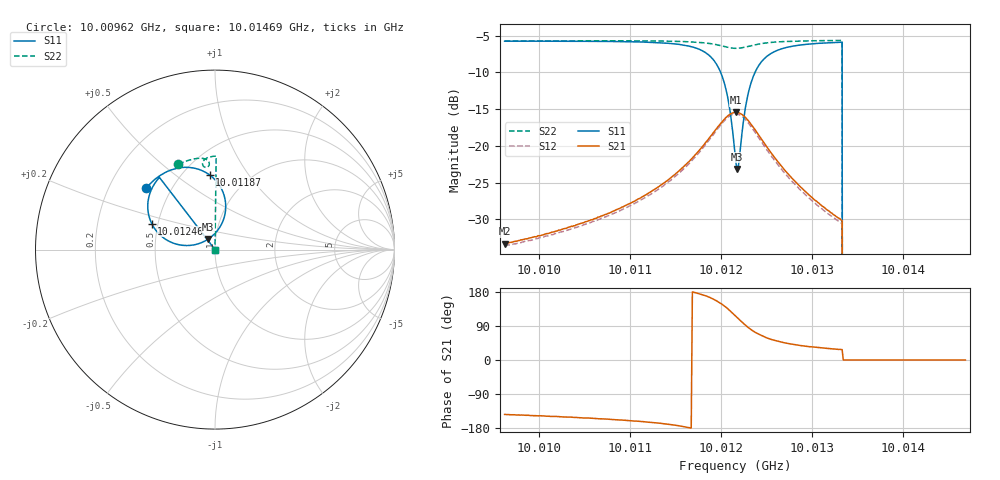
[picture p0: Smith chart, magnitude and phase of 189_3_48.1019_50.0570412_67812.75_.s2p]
#  HZ  S  RI  R  50.00
! Rohde & Schwarz Vector Network Analyzer
! Rohde-Schwarz,ZNB20-2Port,1311601062101988,3.16
! Created: UTC 12/23/2023, 3:53:34 AM
! freq[Hz]  re:S11  im:S11  re:S21  im:S21  re:S12  im:S12  re:S22  im:S22
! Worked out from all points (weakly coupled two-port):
!   401 points, 10.00962 GHz to 10.01469 GHz, reference 50 ohm
!   highest |S21| = -15.43 dB at 10.01217 GHz (marker M1); lowest = -33.3 dB at 10.00962 GHz (marker M2)
!   lowest |S11| = -23.1 dB at 10.01218 GHz (marker M3), VSWR 1.15, Z = 46.1 + j5.46 ohm
!   |S11| at or under -10 dB: 10.012 GHz to 10.01238 GHz (378.3 kHz wide, 0.00378 % of centre); 10.01333 GHz to end of sweep
!   |S22| runs from - to -5.7 dB; largest |S21 - S12| = 0.0087
!   S11 on the Smith chart (normalised r, x): 10.00962 GHz: 0.36, +0.34; 10.01187 GHz: 0.67, +0.67; 10.01246 GHz: 0.46, +0.16; 10.01469 GHz: 1.00, +0.00
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1.0009624e10  -0.3855 0.3419  -0.0174 -0.0129  -0.0162 -0.0131  -0.2044 0.4761
1.0010473e10  -0.3302 0.3949  -0.0264 -0.0139  -0.0247 -0.0145  -0.1512 0.4963
1.0011321e10  -0.2278 0.4491  -0.0515 -0.0123  -0.0491 -0.0143  -0.0906 0.5087
1.0011625e10  -0.1464 0.458  -0.0755 -0.00359  -0.0724 -0.00783  -0.0642 0.5075
1.0011866e10  -0.0291 0.4153  -0.1083 0.0257  -0.1062 0.0192  -0.0407 0.4966
1.0011967e10  0.0321 0.3462  -0.1211 0.0586  -0.1207 0.0503  -0.0328 0.4849
1.0012043e10  0.0591 0.2568  -0.1205 0.0937  -0.1216 0.0863  -0.0321 0.4729
1.0012094e10  0.0514 0.1796  -0.1085 0.1216  -0.1111 0.114  -0.0362 0.4649
1.0012157e10  -0.00229 0.0877  -0.078 0.1502  -0.0823 0.143  -0.0461 0.4586
1.001217e10  -0.019 0.0724  -0.0703 0.154  -0.0747 0.1472  -0.0482 0.4581
1.0012182e10  -0.0371 0.0589  -0.0621 0.1572  -0.0665 0.1506  -0.0508 0.4581
1.0012208e10  -0.0767 0.0381  -0.0454 0.1608  -0.0497 0.1546  -0.0555 0.4588
1.0012258e10  -0.1591 0.0227  -0.0131 0.1585  -0.0178 0.1529  -0.0635 0.464
1.0012309e10  -0.2339 0.0365  0.014 0.1463  0.00882 0.1414  -0.0682 0.4716
1.0012372e10  -0.3015 0.0776  0.0359 0.1253  0.03 0.1214  -0.0692 0.4817
1.0012461e10  -0.3526 0.1452  0.049 0.0965  0.0437 0.0937  -0.065 0.4936
1.0012689e10  -0.3725 0.272  0.0487 0.0504  0.0443 0.05  -0.0455 0.5103
1.0013005e10  -0.343 0.3568  0.0366 0.0252  0.0336 0.0257  -0.0186 0.5185
1.0013309e10  -0.312 0.3992  0.0282 0.0151  0.0261 0.0156  0.00465 0.5211
1.0013373e10  0 0  0 0  0 0  0 0
1.0013854e10  0 0  0 0  0 0  0 0
1.001469e10  0 0  0 0  0 0  0 0
